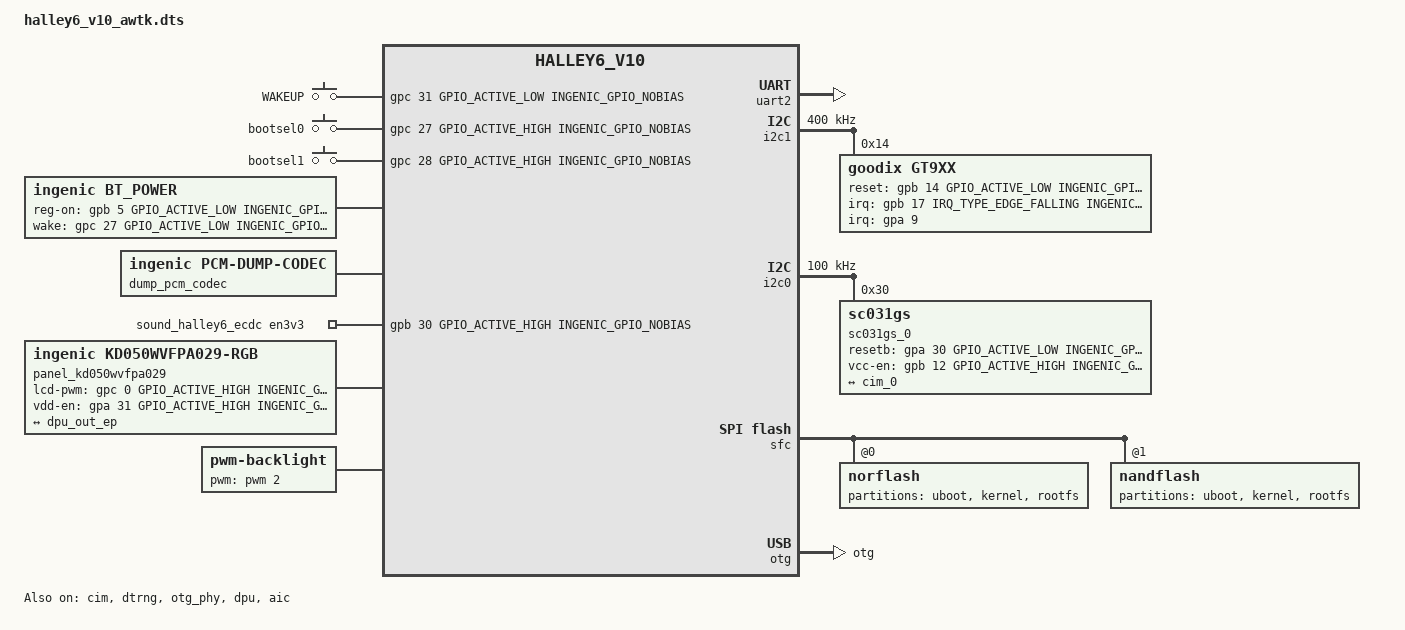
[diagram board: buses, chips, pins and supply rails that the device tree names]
/dts-v1/;

#include <dt-bindings/input/input.h>
#include "x1600.dtsi"
#include <dt-bindings/interrupt-controller/irq.h>
#include <generated/autoconf.h>

/ {
	compatible = "ingenic,halley6_v10", "ingenic,halley6_v10";

	/*chosen {
		bootargs = "console=ttyS1,115200 mem=128M@0x0ip=off init=/linuxrc ubi.mtd=3 root=ubi0:rootfs ubi.mtd=4 rootfstype=ubifs rw";
	};*/


	reserved-memory {
		#address-cells = <1>;
		#size-cells = <1>;
		ranges =<>;
/*
		reserved_memory: reserved_mem@0x2000000{
		      compatible = "shared-dma-pool";
		      reg = <0x02000000 0x2000000>;
		};
 */
	};

};

&uart0 {
	status = "disable";
	dma-mode;
	pinctrl-names = "default";
	pinctrl-0 = <&uart0_pb>;
};

&uart1 {
	status = "disable";
	dma-mode;
	pinctrl-names = "default";
	pinctrl-0 = <&uart1_pb>;
};

&uart2 {
	status = "okay";
	pinctrl-names = "default";
	pinctrl-0 = <&uart2_pb>;
};

&uart3 {
	status = "disable";
};

&cpufreq {
	status = "okay";
	operating-points = <
		/*KHZ uV */
		1200000	900000
		750000	900000
		600000	900000
		500000	900000
		400000	900000
		375000	900000
		300000	900000
		200000	900000
			>;

};

&pdma {
	status = "okay";
};

&tcu {
	status = "disable";
	pinctrl-names = "default";
	pinctrl-0 = <&pwm_tcu_trig_pa>;
};

&can0 {
	status = "disable";
	pinctrl-names = "default";
	pinctrl-0 = <&can0_pd>;
	ingenic,clk-freq = <12000000>;
};

&can1 {
	status = "disable";
	pinctrl-names = "default";
	pinctrl-0 = <&can1_pd>;
	ingenic,clk-freq = <12000000>;
};

&cim {
	status = "okay";
//	memory-region=<&reserved_memory>;
};

&i2c1 {
	clock-frequency = <400000>;
	pinctrl-names = "default";
	status = "okay";
	pinctrl-0 = <&i2c1_pb_f2>;

	goodix@0x14{
		compatible = "goodix,gt9xx"; /* do not modify */
		reg = <0x14>; /* do not modify */
		interrupt-parent = <&gpa>; /* INT pin */
		interrupts = <9>;
		reset-gpios = <&gpb 14 GPIO_ACTIVE_LOW INGENIC_GPIO_NOBIAS>; /* RST pin */
		irq-gpios = <&gpb 17 IRQ_TYPE_EDGE_FALLING INGENIC_GPIO_NOBIAS>; /* INT pin */
		goodix,driver-send-cfg = <1>;
		touchscreen-size-x = <480>;
		touchscreen-size-y = <800>;
		goodix,slide-wakeup = <0>;
		goodix,type-a-report = <0>;
		goodix,resume-in-workqueue = <0>;
		goodix,int-sync = <1>;
		goodix,swap-x2y = <0>;
		goodix,auto-update-cfg = <0>;
		goodix,power-off-sleep = <0>;
		goodix,pen-suppress-finger = <0>;
		irq-flags = <2>; /* 1 rising, 2 falling */
		pinctrl-names = "default", "int-output-high", "int-output-low", "int-input";
		pinctrl-0 = <&touchscreen_default>;
		pinctrl-1 = <&touchscreen_int_out_high>;
		pinctrl-2 = <&touchscreen_int_out_low>;
		pinctrl-3 = <&touchscreen_int_input>;
		goodix,cfg-group0 = [
			42 20 03 E0 01 0A 0D 00
			01 08 28 05 50 32 03 05
			00 00 00 00 00 00 00 00
			00 00 00 87 28 09 17 15
			31 0D 00 00 00 9A 03 1C
			00 00 00 00 00 03 64 32
			00 00 00 0F 23 94 C5 02
			07 00 00 04 A3 10 00 8B
			13 00 7A 16 00 66 1B 00
			58 20 00 58 00 00 00 00
			00 00 00 00 00 00 00 00
			00 00 00 00 00 00 00 00
			00 00 00 00 00 00 00 00
			00 00 00 00 00 00 00 00
			02 04 06 08 0A 0C 0E 10
			12 FF FF FF FF FF FF FF
			FF FF FF FF FF FF FF FF
			FF FF FF FF FF FF 00 02
			04 06 08 0A 0C 1D 1E 1F
			20 21 22 24 26 FF FF FF
			FF FF FF FF FF FF FF FF
			FF FF FF FF FF FF FF FF
			FF FF FF FF FF FF FF FF
			4A 01];
	};
};


&pinctrl {

	touchscreen_pins:touchscreen-pins {
		touchscreen_int_out_high:touchscreen-int-out-high {
			ingenic,pinmux = <&gpb 17 17>;
			ingenic,pinmux-funcsel = <PINCTL_FUNCHILVL>;
		};
		touchscreen_int_out_low:touchscreen-int-out-low {
			ingenic,pinmux = <&gpb 17 17>;
			ingenic,pinmux-funcsel = <PINCTL_FUNCLOLVL>;
		};
		touchscreen_int_input:touchscreen-int-input {
			ingenic,pinmux = <&gpb 17 17>;
			ingenic,pinmux-funcsel = <PINCTL_FUNCINPUT_FE>;
		};
		touchscreen_default:touchscreen-default {
			ingenic,pinmux = <&gpb 17 17>;
			ingenic,pinmux-funcsel = <PINCTL_FUNCINPUT>;
		};
	};
};

&i2c0 {
	status = "okay";
	clock-frequency = <100000>;
	timeout = <1000>;
	pinctrl-names = "default";
	pinctrl-0 = <&i2c0_pa>;

	sc031gs_0:sc031gs@0x30 {
		status = "okay";
		compatible = "sc031gs";
		reg = <0x30>;
		pinctrl-names = "default";
		pinctrl-0 = <&cim_mipi_mclk_pc>;

		resetb-gpios = <&gpa 30 GPIO_ACTIVE_LOW INGENIC_GPIO_NOBIAS>;
		vcc-en-gpios = <&gpb 12 GPIO_ACTIVE_HIGH INGENIC_GPIO_NOBIAS>;

		port {
			sc031gs_ep0:endpoint {
				remote-endpoint = <&cim_0>;
			};
		};
	};
};

&cim {
	status = "okay";
	port {
		cim_0: endpoint@0 {
			remote-endpoint = <&sc031gs_ep0>;
			bus-width = <8>;
		};
	};
};

&mac0 {
	pinctrl-names = "default", "reset";
	pinctrl-0 = <&mac0_rmii_p0_normal>, <&mac0_rmii_p1_normal>;
	pinctrl-1 = <&mac0_rmii_p0_rst>, <&mac0_rmii_p1_normal>;
	status = "disable";
	ingenic,pwr-gpio = <&gpb 30 GPIO_ACTIVE_HIGH INGENIC_GPIO_NOBIAS>;
	ingenic,rst-gpio = <&gpb 31 GPIO_ACTIVE_LOW INGENIC_GPIO_NOBIAS>;
	ingenic,rst-ms = <10>;
	ingenic,mac-mode = <RMII>;
	ingenic,mode-reg = <0xb0000054>;
	ingenic,phy-clk-freq = <50000000>;
};

&sfc {
	status = "okay";
	pinctrl-names = "default";
	pinctrl-0 = <&sfc_pc>;
	ingenic,sfc-init-frequency = <200000000>;
	ingenic,sfc-max-frequency = <400000000>;
	ingenic,use_ofpart_info  = /bits/ 8 <0>;
	ingenic,spiflash_param_offset = <0>;

	norflash@0 {
		partitions {
			compatible = "fixed-partitions";
			#address-cells = <1>;
			#size-cells = <1>;

			/* spi nor flash partition */
			uboot@0 {
				label = "uboot";
				reg = <0x0000000 0x40000>;
				/*read-only;*/
			};

			kernel@40000 {
				label = "kernel";
				reg = <0x40000 0x300000>;
			};

			rootfs@360000 {
				label = "rootfs";
				reg = <0x360000 0xca0000>;
			};
		};
	};

	nandflash@1 {
		partitions {
			compatible = "fixed-partitions";
			#address-cells = <1>;
			#size-cells = <1>;

			/* spi nand flash partition */
			partition@0 {
				label = "uboot";
				reg = <0x0000000 0x100000>;
				/*read-only;*/
			};

			partition@100000 {
				label = "kernel";
				reg = <0x100000 0x800000>;
			};

			partition@900000 {
				label = "rootfs";
				reg = <0x900000 0xf700000>;
			};
		};
	};

};

&spi0 {
	status = "disable";
	pinctrl-names = "default";
	pinctrl-0 = <&spi0_pb>;
	spi-max-frequency = <54000000>;
	num-cs = <2>;
	/* cs-gpios = <0>, <0>; */
	/* cs-gpios = <&gpb 17 GPIO_ACTIVE_HIGH INGENIC_GPIO_NOBIAS>, <&gpb 16 GPIO_ACTIVE_HIGH INGENIC_GPIO_NOBIAS>; */
	ingenic,chnl = <0>;
	ingenic,allow_cs_same = <1>;
	ingenic,bus_num = <0>;
	ingenic,has_dma_support = <0>;
	ingenic,spi-src-clk = <1>;/*0.ext; 1.ssi*/

	/* Add SPI interface device */
	spidev: spidev@0 {
		compatible = "rohm,dh2228fv";
		reg = <0>;
		spi-max-frequency = <10000000>;
	};
};

&spi_slv0 {
	status = "disable";
	pinctrl-names = "default";
	pinctrl-0 = <&spi_slv_pa>;
	ingenic,has_dma_support = <1>;
};

&dtrng {
	status = "okay";
};

&pwm {
	pinctrl-names = "default", "pwm7_pb_21";
	pinctrl-0 = <&pwm0_pc>,
		<&pwm7_pb_21>;
	status = "disable";
};

&otg {
	g-use-dma;
	dr_mode = "otg"; // host,peripheral,otg
	status = "okay";
};

&otg_phy {
	status = "okay";
	pinctrl-names = "default";
	pinctrl-0 = <&drvvbus_pin>;
};

&dpu {
	status = "okay";
	/*ingenic,disable-rdma-fb = <0>;*/
	port {
		dpu_out_ep: endpoint {
		remote-endpoint = <&panel_kd050wvfpa029_ep>;
	    };
	};
};

&aic {
	status = "okay";
	pinctrl-names = "default";
	pinctrl-0 = <&aic_pb>;
};

&efuse {
	status = "disable";
};


/ {

	extclk: extclk {
		clock-frequency = <24000000>;
	};

	gpio_keys: gpio_keys {
		   compatible = "gpio-keys";

		   wakeup {
			   label = "WAKEUP";
			   linux,code = <KEY_WAKEUP>;
			   gpios = <&gpc 31 GPIO_ACTIVE_LOW INGENIC_GPIO_NOBIAS>;
			   gpio-key,wakeup;
		   };

		   bootsel0 {
			   label = "bootsel0";
			   linux,code = <KEY_HOME>;
			   gpios = <&gpc 27 GPIO_ACTIVE_HIGH INGENIC_GPIO_NOBIAS>;
		   };

		   bootsel1 {
			   label = "bootsel1";
			   linux,code = <KEY_BACK>;
			   gpios = <&gpc 28 GPIO_ACTIVE_HIGH INGENIC_GPIO_NOBIAS>;
		   };
	   };

	/*
	 * gpc 27 bt wakeup host
	 */
	bt_power {
		compatible = "ingenic,bt_power";
		ingenic,reg-on-gpio = <&gpb 5 GPIO_ACTIVE_LOW INGENIC_GPIO_NOBIAS>;
		ingenic,wake-gpio = <&gpc 27 GPIO_ACTIVE_LOW INGENIC_GPIO_NOBIAS>;
	};

	dump_pcm_codec:dump_pcm_codec{
		compatible = "ingenic,pcm-dump-codec";
		status = "okay";
	};

	sound_halley6_ecdc {
		status = "okay";
		compatible = "ingenic,x1600-sound";
		ingenic,model = "halley6";
		ingenic,dai-link = "i2s-ecodec", "i2s-tloop";
		ingenic,stream = "i2s-ecodec", "i2s-tloop";
		ingenic,cpu-dai = <&i2s>, <&i2s_tloop>;
		ingenic,platform = <&aic>, <&i2s_tloop>;
		ingenic,codec = <&dump_pcm_codec>, <&dump_pcm_codec>;
		ingenic,codec-dai = "pcm-dump", "pcm-dump";
		ingenic,en3v3-gpios = <&gpb 30 GPIO_ACTIVE_HIGH INGENIC_GPIO_NOBIAS>;
	};

	display-dbi {
		compatible = "simple-bus";
		#interrupt-cells = <1>;
		#address-cells = <1>;
		#size-cells = <1>;
		ranges = <>;
		panel_kd050wvfpa029 {
			compatible = "ingenic,kd050wvfpa029-rgb";
			status = "okay";
			pinctrl-names = "default";
			pinctrl-0 = <&tft_lcd_pa_rgb888>;
			ingenic,lcd-pwm-gpio = <&gpc 0 GPIO_ACTIVE_HIGH INGENIC_GPIO_NOBIAS>;
			ingenic,vdd-en-gpio = <&gpa 31 GPIO_ACTIVE_HIGH INGENIC_GPIO_NOBIAS>;
			port {
				panel_kd050wvfpa029_ep: endpoint {
					remote-endpoint = <&dpu_out_ep>;
				};
			};
		};
	};

	backlight {
		compatible = "pwm-backlight";
		pwms = <&pwm 2 100000>; /* arg1: pwm channel id [0~15]. arg2: period in ns. */
		brightness-levels = <0 1 2 3 4 5 6 7 8 9 10 11 12 13 14 15>;
		default-brightness-level = <5>;
	};


	spi_gpio {
		status = "disable";
	};

#ifdef CONFIG_LINUX_PMEM
	linux_pmem {
		status = "okay";
		compatible = "linux_pmem";
		linux_pmem,name = "pmem";
		linux_pmem,no_allocator = <0>;
		linux_pmem,cached       = <1>;
		linux_pmem,start        = <0>;
		linux_pmem,size         = CONFIG_PMEM_RESERVE_SIZE;
    };
#endif
};

